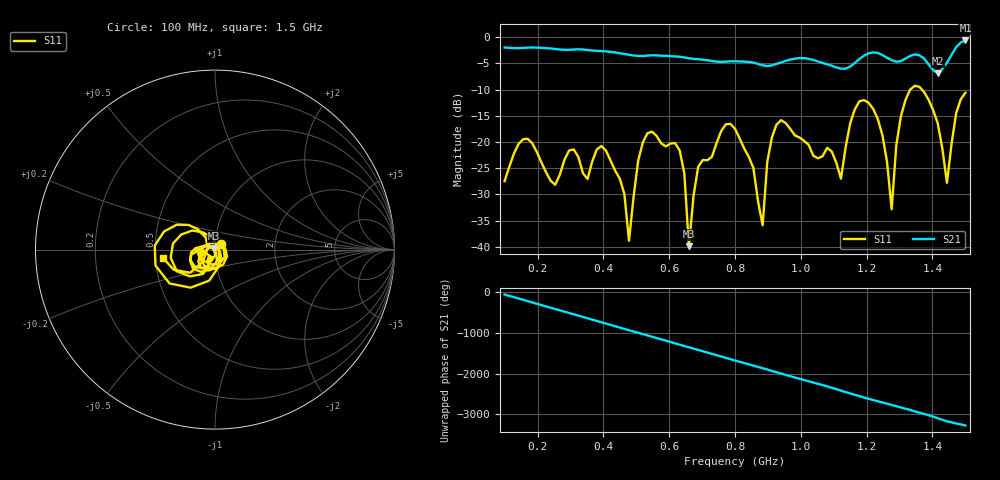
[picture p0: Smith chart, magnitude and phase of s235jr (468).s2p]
! NanoVNA-App
! Date: 2025-09-25 15:07:48
! Start: 100MHz Stop: 1,5GHz Points: 101
! S-Parameter data: F S11 S21 S12 S22
# Hz S RI R 50
!  Frequency  S11_Real  S11_Imag  S21_Real  S21_Imag  S12_Real  S12_Imag  S22_Real  S22_Imag
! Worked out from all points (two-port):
!   101 points, 100 MHz to 1.5 GHz, reference 50 ohm
!   highest |S21| = -0.63 dB at 1.5 GHz (marker M1); lowest = -6.9 dB at 1.416 GHz (marker M2)
!   |S21| within 3 dB of the highest: start of sweep to 608.6 MHz; 1.19 GHz to 1.254 GHz (64.02 MHz wide, 5.24 % of centre) (the widest 2 of 4)
!   lowest |S11| = -39.9 dB at 660 MHz (marker M3), VSWR 1.02, Z = 49.2 + j0.648 ohm
!   |S11| at or under -10 dB: start of sweep to 1.332 GHz; 1.368 GHz to end of sweep
!   S12 and S22 are empty: the file has one direction only
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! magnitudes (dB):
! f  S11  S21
! 100 MHz  -27.5  -2.0
! 170 MHz  -19.4  -2.0
! 338 MHz  -25.9  -2.4
! 408 MHz  -21.6  -2.7
! 478 MHz  -38.8  -3.4
! 520 MHz  -20.1  -3.6
! 576 MHz  -20.3  -3.5
! 632 MHz  -21.6  -3.7
! 660 MHz  -39.9  -4.0
! 688 MHz  -24.7  -4.2
! 800 MHz  -17.5  -4.6
! 884 MHz  -35.9  -5.4
! 926 MHz  -16.7  -5.1
! 1.038 GHz  -22.6  -4.3
! 1.122 GHz  -27.0  -6.0
! 1.206 GHz  -12.5  -3.1
! 1.276 GHz  -32.8  -4.4
! 1.29 GHz  -20.7  -4.7
! 1.332 GHz  -10.0  -3.6
! 1.416 GHz  -16.4  -6.9
! 1.444 GHz  -27.8  -4.9
! 1.5 GHz  -10.6  -0.6
